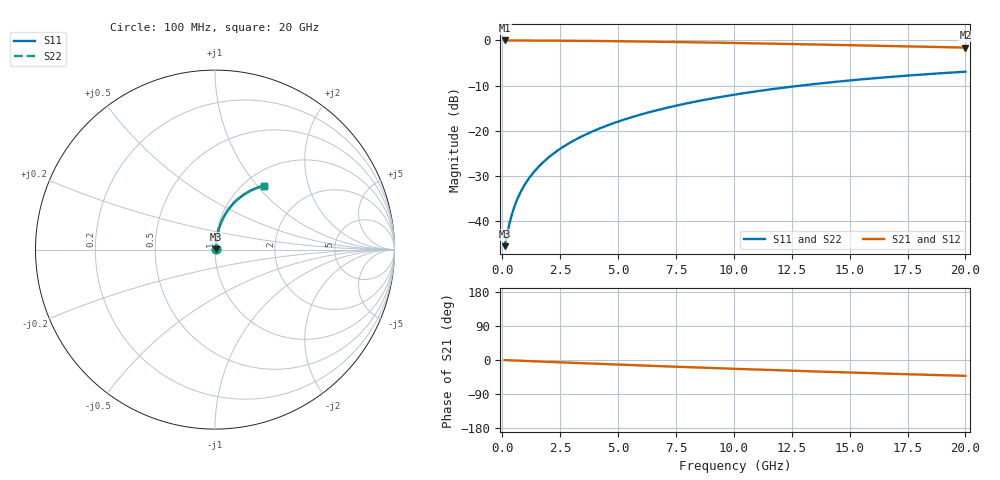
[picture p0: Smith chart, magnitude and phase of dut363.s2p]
! Touchstone file exported from HFSS 2024.1.0
!  File:  C:/UserFiles/LocalFiles/RDL_TSV_Batchsim/temp_RDL_bottom_363_1779612910.aedt
!  Generated:  04:58:32 PM May 24, 2026
!  Design:  RDL_bottom
!  Project:  temp_RDL_bottom_363_1779612910
!  Setup:  Setup1
!  Solution:  Sweep
! Variables:
!  dtsv = 10.80580581um
!  hbump = 3um
!  htsv = 72.76um
!  ldown = 529.34um
!  lrdl = 100um
!  p = 40
!  p1 = 52.97um
!  rhole = 1um
!  t = 450um
!  tdown = 2.61um
!  trdl = 3.915915916um
!  wdown = 16.19um
!  wrdl = 20um
# GHz S MA R 50.000000
! Terminal data exported
! Port[1] = RDL1_T1
! Port[2] = RDL1_T2
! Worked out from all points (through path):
!   200 points, 100 MHz to 20 GHz, reference 50 ohm
!   highest |S21| = -0.04 dB at 100 MHz (marker M1); lowest = -1.6 dB at 20 GHz (marker M2)
!   group delay of S21, straight-line fit = 5.81 ps
!   lowest |S11| = -45.5 dB at 100 MHz (marker M3), VSWR 1.01, Z = 50.5 + j0.268 ohm
!   |S11| at or under -10 dB: start of sweep to 12.9 GHz
!   |S22| runs from -45.5 to -6.9 dB; largest |S21 - S12| = 2.6e-15
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0.1  0.005328 29.9  0.9954 -0.3  0.9954 -0.3  0.005328 30.0
! Gamma 0 0 0 0
! Port Impedance 50 0 50 0
0.3  0.009271 58.5  0.9952 -0.8  0.9952 -0.8  0.009271 58.5
0.4  0.01161 64.5  0.995 -1.0  0.995 -1.0  0.01161 64.5
0.5  0.01401 68.3  0.9948 -1.3  0.9948 -1.3  0.01401 68.3
0.6  0.01643 71.0  0.9946 -1.5  0.9946 -1.5  0.01643 71.0
0.8  0.0213 74.4  0.9942 -2.0  0.9942 -2.0  0.0213 74.4
1.1  0.02863 77.3  0.9936 -2.7  0.9936 -2.7  0.02863 77.3
1.3  0.03354 78.5  0.9932 -3.2  0.9932 -3.2  0.03354 78.5
1.6  0.04095 79.6  0.9924 -4.0  0.9924 -4.0  0.04095 79.6
2.1  0.05337 80.5  0.9909 -5.2  0.9909 -5.2  0.05337 80.5
2.7  0.06838 80.8  0.9887 -6.6  0.9887 -6.6  0.06838 80.8
3.5  0.08852 80.5  0.9851 -8.6  0.9851 -8.6  0.08853 80.5
4.2  0.1062 79.9  0.9813 -10.2  0.9813 -10.2  0.1062 79.9
5  0.1265 78.9  0.9762 -12.1  0.9762 -12.1  0.1265 78.9
5.9  0.1493 77.6  0.9699 -14.2  0.9699 -14.2  0.1493 77.6
6.8  0.172 76.2  0.9629 -16.2  0.9629 -16.2  0.172 76.2
8.4  0.2117 73.4  0.9492 -19.8  0.9492 -19.8  0.2117 73.4
10.1  0.2527 70.2  0.9333 -23.4  0.9333 -23.4  0.2527 70.2
11.7  0.2897 67.2  0.9173 -26.6  0.9173 -26.6  0.2897 67.2
13.4  0.3269 64.0  0.8998 -30.0  0.8998 -30.0  0.327 64.0
16.7  0.3928 58.0  0.8649 -36.1  0.8649 -36.1  0.3928 58.0
20  0.4498 52.4  0.83 -41.8  0.83 -41.8  0.4499 52.4
